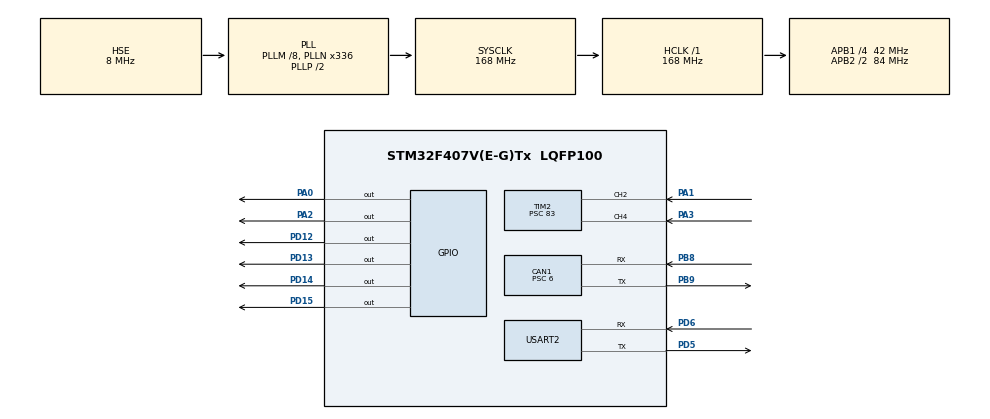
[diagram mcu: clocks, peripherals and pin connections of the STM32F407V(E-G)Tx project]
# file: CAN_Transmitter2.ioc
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CAN1.BS1=CAN_BS1_11TQ
CAN1.BS2=CAN_BS2_2TQ
CAN1.CalculateBaudRate=500000
CAN1.CalculateTimeBit=2000
CAN1.CalculateTimeQuantum=142.85714285714286
CAN1.NART=ENABLE
CAN1.Prescaler=6
Mcu.Family=STM32F4
Mcu.Name=STM32F407V(E-G)Tx
Mcu.Package=LQFP100
NVIC.PriorityGroup=NVIC_PRIORITYGROUP_4
NVIC.TIM2_IRQn=true\:0\:0\:false\:false\:true\:true\:true\:true
PA0-WKUP.Signal=GPIO_Output
PA1.Signal=S_TIM2_CH2
PA13.Mode=Serial_Wire
PA13.Signal=SYS_JTMS-SWDIO
PA14.Mode=Serial_Wire
PA14.Signal=SYS_JTCK-SWCLK
PA2.Signal=GPIO_Output
PA3.Signal=S_TIM2_CH4
PB8.Mode=CAN_Activate
PB8.Signal=CAN1_RX
PB9.Mode=CAN_Activate
PB9.Signal=CAN1_TX
PD12.Signal=GPIO_Output
PD13.Signal=GPIO_Output
PD14.Signal=GPIO_Output
PD15.Signal=GPIO_Output
PD5.Mode=Asynchronous
PD5.Signal=USART2_TX
PD6.Mode=Asynchronous
PD6.Signal=USART2_RX
PH0-OSC_IN.Mode=HSE-External-Oscillator
PH0-OSC_IN.Signal=RCC_OSC_IN
PH1-OSC_OUT.Mode=HSE-External-Oscillator
PH1-OSC_OUT.Signal=RCC_OSC_OUT
ProjectManager.HeapSize=0x200
ProjectManager.StackSize=0x400
ProjectManager.TargetToolchain=STM32CubeIDE
RCC.48MHZClocksFreq_Value=84000000
RCC.AHBFreq_Value=168000000
RCC.APB1CLKDivider=RCC_HCLK_DIV4
RCC.APB1Freq_Value=42000000
RCC.APB1TimFreq_Value=84000000
RCC.APB2CLKDivider=RCC_HCLK_DIV2
RCC.APB2Freq_Value=84000000
RCC.APB2TimFreq_Value=168000000
RCC.CortexFreq_Value=168000000
RCC.HCLKFreq_Value=168000000
RCC.HSE_VALUE=8000000
RCC.HSI_VALUE=16000000
RCC.LSE_VALUE=32768
RCC.PLLM=8
RCC.PLLN=336
RCC.PLLSourceVirtual=RCC_PLLSOURCE_HSE
RCC.SYSCLKFreq_VALUE=168000000
RCC.SYSCLKSource=RCC_SYSCLKSOURCE_PLLCLK
RCC.VCOOutputFreq_Value=336000000
SH.S_TIM2_CH2.0=TIM2_CH2,Input_Capture2_from_TI2
SH.S_TIM2_CH4.0=TIM2_CH4,Input_Capture4_from_TI4
TIM2.Channel-Input_Capture2_from_TI2=TIM_CHANNEL_2
TIM2.Channel-Input_Capture4_from_TI4=TIM_CHANNEL_4
TIM2.Period=65535
TIM2.Prescaler=83
USART2.VirtualMode=VM_ASYNC
board=custom

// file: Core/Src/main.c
/* USER CODE BEGIN Header */
/**
  ******************************************************************************
  * @file           : main.c
  * @brief          : Main program body
  ******************************************************************************
  * @attention
  *
  * Copyright (c) 2026 STMicroelectronics.
  * All rights reserved.
  *
  * This software is licensed under terms that can be found in the LICENSE file
  * in the root directory of this software component.
  * If no LICENSE file comes with this software, it is provided AS-IS.
  *
  ******************************************************************************
  */
/* USER CODE END Header */
#include "main.h"

/* USER CODE BEGIN Includes */
#include <stdio.h>
#include <string.h>
/* USER CODE END Includes */

CAN_HandleTypeDef hcan1;

TIM_HandleTypeDef htim2;

UART_HandleTypeDef huart2;

/* USER CODE BEGIN PV */
/*------------- Sensor 1 ----------------*/
uint32_t IC1_Val1 = 0;
uint32_t IC1_Val2 = 0;
uint32_t IC1_Difference = 0;
uint8_t  IC1_FirstCapture = 0;
float Distance1 = 0;

/*------------- Sensor 2 ----------------*/
uint32_t IC2_Val1 = 0;
uint32_t IC2_Val2 = 0;
uint32_t IC2_Difference = 0;
uint8_t  IC2_FirstCapture = 0;
float Distance2 = 0;

/* UART Buffer */
char uartMsg[100];

/* CAN Variables */
CAN_TxHeaderTypeDef TxHeader;
uint8_t TxData[8];
uint32_t TxMailbox;

uint8_t Slot1_Status = 0;
uint8_t Slot2_Status = 0;

/* USER CODE END PV */

void SystemClock_Config(void);
static void MX_GPIO_Init(void);
static void MX_CAN1_Init(void);
static void MX_TIM2_Init(void);
static void MX_USART2_UART_Init(void);
/* USER CODE BEGIN PFP */
void HCSR04_Trigger1(void);
void HCSR04_Trigger2(void);
/* USER CODE END PFP */

/* USER CODE BEGIN 0 */
void HCSR04_Trigger1(void)
{
    HAL_GPIO_WritePin(GPIOA, GPIO_PIN_0, GPIO_PIN_RESET);
    HAL_Delay(1);

    HAL_GPIO_WritePin(GPIOA, GPIO_PIN_0, GPIO_PIN_SET);

    __HAL_TIM_SET_COUNTER(&htim2,0);
    while(__HAL_TIM_GET_COUNTER(&htim2) < 15);

    HAL_GPIO_WritePin(GPIOA, GPIO_PIN_0, GPIO_PIN_RESET);
}

void HCSR04_Trigger2(void)
{
    HAL_GPIO_WritePin(GPIOA, GPIO_PIN_2, GPIO_PIN_RESET);
    HAL_Delay(1);

    HAL_GPIO_WritePin(GPIOA, GPIO_PIN_2, GPIO_PIN_SET);

    __HAL_TIM_SET_COUNTER(&htim2,0);
    while(__HAL_TIM_GET_COUNTER(&htim2) < 15);

    HAL_GPIO_WritePin(GPIOA, GPIO_PIN_2, GPIO_PIN_RESET);
}
/* USER CODE END 0 */

int main(void)
{

  /* MCU Configuration--------------------------------------------------------*/

  /* Reset of all peripherals, Initializes the Flash interface and the Systick. */
  HAL_Init();

  /* USER CODE BEGIN Init */
  TxHeader.StdId = 0x123;
  TxHeader.ExtId = 0;
  TxHeader.IDE = CAN_ID_STD;
  TxHeader.RTR = CAN_RTR_DATA;
  TxHeader.DLC = 2;
  TxHeader.TransmitGlobalTime = DISABLE;
  /* USER CODE END Init */

  /* Configure the system clock */
  SystemClock_Config();

  /* Initialize all configured peripherals */
  MX_GPIO_Init();
  MX_CAN1_Init();
  MX_TIM2_Init();
  MX_USART2_UART_Init();
  /* USER CODE BEGIN 2 */
  HAL_TIM_IC_Start_IT(&htim2, TIM_CHANNEL_2);
  HAL_TIM_IC_Start_IT(&htim2, TIM_CHANNEL_4);

  HAL_UART_Transmit(&huart2,(uint8_t *)"System Ready\r\n",14,HAL_MAX_DELAY);

  /* Start CAN */
  if (HAL_CAN_Start(&hcan1) != HAL_OK)
  {
      Error_Handler();
  }
  /* CAN Header */
  TxHeader.StdId = 0x123;
  TxHeader.ExtId = 0;
  TxHeader.IDE = CAN_ID_STD;
  TxHeader.RTR = CAN_RTR_DATA;
  TxHeader.DLC = 2;
  TxHeader.TransmitGlobalTime = DISABLE;
  /* USER CODE END 2 */

  /* Infinite loop */
  /* USER CODE BEGIN WHILE */
  /* Infinite loop */
  /* USER CODE BEGIN WHILE */
  while (1)
  {
      /* Trigger Sensor 1 */
      HCSR04_Trigger1();
      HAL_Delay(60);

      /* Trigger Sensor 2 */
      HCSR04_Trigger2();
      HAL_Delay(60);

      /* Update Slot Status */
      Slot1_Status = (Distance1 < 10.0f) ? 1 : 0;
      Slot2_Status = (Distance2 < 10.0f) ? 1 : 0;

      /* Send CAN Data */
      TxData[0] = Slot1_Status;
      TxData[1] = Slot2_Status;

      HAL_StatusTypeDef status;

      status = HAL_CAN_AddTxMessage(&hcan1, &TxHeader, TxData, &TxMailbox);

//      sprintf(uartMsg,
//              "Free=%lu Status=%d TSR=0x%08lX ESR=0x%08lX\r\n",
//              HAL_CAN_GetTxMailboxesFreeLevel(&hcan1),
//              status,
//              CAN1->TSR,
//              CAN1->ESR);
//
//      HAL_UART_Transmit(&huart2,
//                        (uint8_t *)uartMsg,
//                        strlen(uartMsg),
//                        HAL_MAX_DELAY);
      sprintf(uartMsg,
              "D1=%d cm  D2=%d cm  S1=%d  S2=%d  Free=%lu  Status=%d  TSR=0x%08lX  ESR=0x%08lX\r\n",
              (int)Distance1,
              (int)Distance2,
              Slot1_Status,
              Slot2_Status,
              HAL_CAN_GetTxMailboxesFreeLevel(&hcan1),
              status,CAN1->TSR,CAN1->ESR);

      HAL_UART_Transmit(&huart2,
                        (uint8_t *)uartMsg,
                        strlen(uartMsg),
                        HAL_MAX_DELAY);

      HAL_Delay(1000);

      HAL_Delay(100);
  }
  /* USER CODE END 3 */
}

void SystemClock_Config(void)
{
  RCC_OscInitTypeDef RCC_OscInitStruct = {0};
  RCC_ClkInitTypeDef RCC_ClkInitStruct = {0};

  /** Configure the main internal regulator output voltage
  */
  __HAL_RCC_PWR_CLK_ENABLE();
  __HAL_PWR_VOLTAGESCALING_CONFIG(PWR_REGULATOR_VOLTAGE_SCALE1);

  /** Initializes the RCC Oscillators according to the specified parameters
  * in the RCC_OscInitTypeDef structure.
  */
  RCC_OscInitStruct.OscillatorType = RCC_OSCILLATORTYPE_HSE;
  RCC_OscInitStruct.HSEState = RCC_HSE_ON;
  RCC_OscInitStruct.PLL.PLLState = RCC_PLL_ON;
  RCC_OscInitStruct.PLL.PLLSource = RCC_PLLSOURCE_HSE;
  RCC_OscInitStruct.PLL.PLLM = 8;
  RCC_OscInitStruct.PLL.PLLN = 336;
  RCC_OscInitStruct.PLL.PLLP = RCC_PLLP_DIV2;
  RCC_OscInitStruct.PLL.PLLQ = 4;
  if (HAL_RCC_OscConfig(&RCC_OscInitStruct) != HAL_OK)
  {
    Error_Handler();
  }

  /** Initializes the CPU, AHB and APB buses clocks
  */
  RCC_ClkInitStruct.ClockType = RCC_CLOCKTYPE_HCLK|RCC_CLOCKTYPE_SYSCLK
                              |RCC_CLOCKTYPE_PCLK1|RCC_CLOCKTYPE_PCLK2;
  RCC_ClkInitStruct.SYSCLKSource = RCC_SYSCLKSOURCE_PLLCLK;
  RCC_ClkInitStruct.AHBCLKDivider = RCC_SYSCLK_DIV1;
  RCC_ClkInitStruct.APB1CLKDivider = RCC_HCLK_DIV4;
  RCC_ClkInitStruct.APB2CLKDivider = RCC_HCLK_DIV2;

  if (HAL_RCC_ClockConfig(&RCC_ClkInitStruct, FLASH_LATENCY_5) != HAL_OK)
  {
    Error_Handler();
  }
}

static void MX_CAN1_Init(void)
{

  hcan1.Instance = CAN1;
  hcan1.Init.Prescaler = 6;
  hcan1.Init.Mode = CAN_MODE_NORMAL;
  hcan1.Init.SyncJumpWidth = CAN_SJW_1TQ;
  hcan1.Init.TimeSeg1 = CAN_BS1_11TQ;
  hcan1.Init.TimeSeg2 = CAN_BS2_2TQ;
  hcan1.Init.TimeTriggeredMode = DISABLE;
  hcan1.Init.AutoBusOff = DISABLE;
  hcan1.Init.AutoWakeUp = DISABLE;
  hcan1.Init.AutoRetransmission = ENABLE;
  hcan1.Init.ReceiveFifoLocked = DISABLE;
  hcan1.Init.TransmitFifoPriority = DISABLE;
  if (HAL_CAN_Init(&hcan1) != HAL_OK)
  {
    Error_Handler();
  }

}

static void MX_TIM2_Init(void)
{

  TIM_MasterConfigTypeDef sMasterConfig = {0};
  TIM_IC_InitTypeDef sConfigIC = {0};

  htim2.Instance = TIM2;
  htim2.Init.Prescaler = 83;
  htim2.Init.CounterMode = TIM_COUNTERMODE_UP;
  htim2.Init.Period = 65535;
  htim2.Init.ClockDivision = TIM_CLOCKDIVISION_DIV1;
  htim2.Init.AutoReloadPreload = TIM_AUTORELOAD_PRELOAD_DISABLE;
  if (HAL_TIM_IC_Init(&htim2) != HAL_OK)
  {
    Error_Handler();
  }
  sMasterConfig.MasterOutputTrigger = TIM_TRGO_RESET;
  sMasterConfig.MasterSlaveMode = TIM_MASTERSLAVEMODE_DISABLE;
  if (HAL_TIMEx_MasterConfigSynchronization(&htim2, &sMasterConfig) != HAL_OK)
  {
    Error_Handler();
  }
  sConfigIC.ICPolarity = TIM_INPUTCHANNELPOLARITY_RISING;
  sConfigIC.ICSelection = TIM_ICSELECTION_DIRECTTI;
  sConfigIC.ICPrescaler = TIM_ICPSC_DIV1;
  sConfigIC.ICFilter = 0;
  if (HAL_TIM_IC_ConfigChannel(&htim2, &sConfigIC, TIM_CHANNEL_2) != HAL_OK)
  {
    Error_Handler();
  }
  if (HAL_TIM_IC_ConfigChannel(&htim2, &sConfigIC, TIM_CHANNEL_4) != HAL_OK)
  {
    Error_Handler();
  }

}

static void MX_USART2_UART_Init(void)
{

  huart2.Instance = USART2;
  huart2.Init.BaudRate = 115200;
  huart2.Init.WordLength = UART_WORDLENGTH_8B;
  huart2.Init.StopBits = UART_STOPBITS_1;
  huart2.Init.Parity = UART_PARITY_NONE;
  huart2.Init.Mode = UART_MODE_TX_RX;
  huart2.Init.HwFlowCtl = UART_HWCONTROL_NONE;
  huart2.Init.OverSampling = UART_OVERSAMPLING_16;
  if (HAL_UART_Init(&huart2) != HAL_OK)
  {
    Error_Handler();
  }

}

static void MX_GPIO_Init(void)
{
  GPIO_InitTypeDef GPIO_InitStruct = {0};

  /* GPIO Ports Clock Enable */
  __HAL_RCC_GPIOH_CLK_ENABLE();
  __HAL_RCC_GPIOA_CLK_ENABLE();
  __HAL_RCC_GPIOD_CLK_ENABLE();
  __HAL_RCC_GPIOB_CLK_ENABLE();

  /*Configure GPIO pin Output Level */
  HAL_GPIO_WritePin(GPIOA, GPIO_PIN_0|GPIO_PIN_2, GPIO_PIN_RESET);

  /*Configure GPIO pin Output Level */
  HAL_GPIO_WritePin(GPIOD, GPIO_PIN_12|GPIO_PIN_13|GPIO_PIN_14|GPIO_PIN_15, GPIO_PIN_RESET);

  /*Configure GPIO pins : PA0 PA2 */
  GPIO_InitStruct.Pin = GPIO_PIN_0|GPIO_PIN_2;
  GPIO_InitStruct.Mode = GPIO_MODE_OUTPUT_PP;
  GPIO_InitStruct.Pull = GPIO_NOPULL;
  GPIO_InitStruct.Speed = GPIO_SPEED_FREQ_LOW;
  HAL_GPIO_Init(GPIOA, &GPIO_InitStruct);

  /*Configure GPIO pins : PD12 PD13 PD14 PD15 */
  GPIO_InitStruct.Pin = GPIO_PIN_12|GPIO_PIN_13|GPIO_PIN_14|GPIO_PIN_15;
  GPIO_InitStruct.Mode = GPIO_MODE_OUTPUT_PP;
  GPIO_InitStruct.Pull = GPIO_NOPULL;
  GPIO_InitStruct.Speed = GPIO_SPEED_FREQ_LOW;
  HAL_GPIO_Init(GPIOD, &GPIO_InitStruct);

}

/* USER CODE BEGIN 4 */
void HAL_TIM_IC_CaptureCallback(TIM_HandleTypeDef *htim)
{
	HAL_GPIO_TogglePin(GPIOD, GPIO_PIN_13);
    /*--------------- Sensor 1 : TIM2 Channel 2 ----------------*/
    if(htim->Instance == TIM2 && htim->Channel == HAL_TIM_ACTIVE_CHANNEL_2)
    {
        if(IC1_FirstCapture == 0)
        {
            IC1_Val1 = HAL_TIM_ReadCapturedValue(htim, TIM_CHANNEL_2);
            IC1_FirstCapture = 1;

            __HAL_TIM_SET_CAPTUREPOLARITY(htim,TIM_CHANNEL_2,TIM_INPUTCHANNELPOLARITY_FALLING);

        }
        else
        {
            IC1_Val2 = HAL_TIM_ReadCapturedValue(htim, TIM_CHANNEL_2);

            if(IC1_Val2 > IC1_Val1)
                IC1_Difference = IC1_Val2 - IC1_Val1;
            else
                IC1_Difference = (65535 - IC1_Val1) + IC1_Val2;

            Distance1 = IC1_Difference * 0.0343f / 2.0f;
            HAL_GPIO_TogglePin(GPIOD, GPIO_PIN_14);

            IC1_FirstCapture = 0;

            __HAL_TIM_SET_COUNTER(htim,0);

            __HAL_TIM_SET_CAPTUREPOLARITY(htim,TIM_CHANNEL_2,TIM_INPUTCHANNELPOLARITY_RISING);

        }
    }

    /*--------------- Sensor 2 : TIM2 Channel 4 ----------------*/
    if(htim->Instance == TIM2 && htim->Channel == HAL_TIM_ACTIVE_CHANNEL_4)
    {
        if(IC2_FirstCapture == 0)
        {
            IC2_Val1 = HAL_TIM_ReadCapturedValue(htim, TIM_CHANNEL_4);
            IC2_FirstCapture = 1;

            __HAL_TIM_SET_CAPTUREPOLARITY(htim,TIM_CHANNEL_4,TIM_INPUTCHANNELPOLARITY_FALLING);
        }
        else
        {
            IC2_Val2 = HAL_TIM_ReadCapturedValue(htim, TIM_CHANNEL_4);

            if(IC2_Val2 > IC2_Val1)
                IC2_Difference = IC2_Val2 - IC2_Val1;
            else
                IC2_Difference = (65535 - IC2_Val1) + IC2_Val2;

            Distance2 = IC2_Difference * 0.0343f / 2.0f;
            HAL_GPIO_TogglePin(GPIOD, GPIO_PIN_14);

            IC2_FirstCapture = 0;

            __HAL_TIM_SET_COUNTER(htim,0);

            __HAL_TIM_SET_CAPTUREPOLARITY(htim,TIM_CHANNEL_4,TIM_INPUTCHANNELPOLARITY_RISING);
        }
    }
}
/* USER CODE END 4 */

void Error_Handler(void)
{
  __disable_irq();
  while (1)
  {
  }
}
